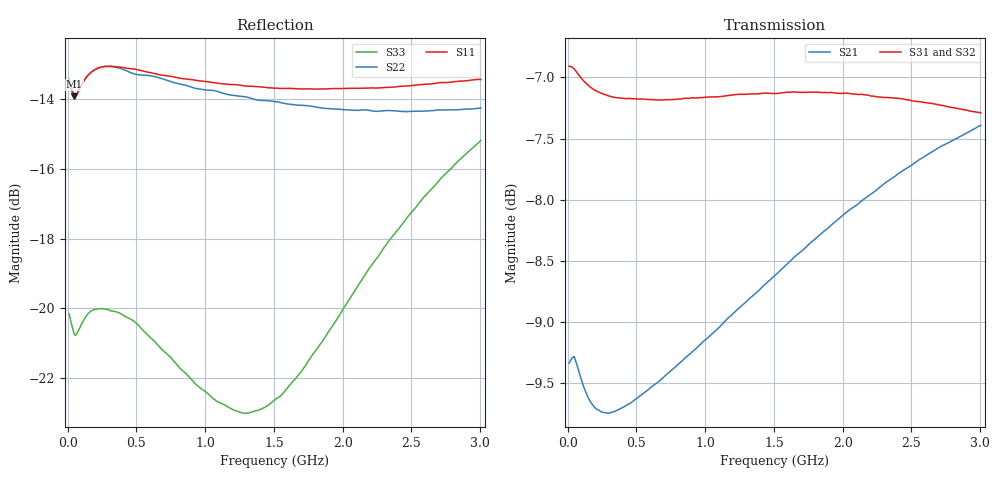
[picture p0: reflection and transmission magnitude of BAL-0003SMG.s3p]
! MARKI MICROWAVE INC.
! Email:  info@markimicrowave.com  Phone:  408-778-4200
! Model Number:  BAL-0003SMG  Date:  12/12
! Filename:		BAL-0003SMG.S3P  Version: 1.0
! Description:  3-port S-parameter data for Balun BAL-0003SMG
! Frequency Range: 	10 MHz to 3 GHz
! Port Configuration:	PORT 1: OUTPUT (0 DEGREE), PORT 2: OUTPUT (180 DEGREE), PORT 3:COMMON
! S3P File: Measurements: Mag<S11> Ang<S11> Mag<S12> Ang<S12> Mag<S13> Ang<S13>! row 1
!  Mag<S21> Ang<S21> Mag<S22> Ang<S22> Mag<S23> Ang<S23>! row 2
!  Mag<S31> Ang<S31> Mag<S32> Ang<S32> Mag<S33> Ang<S33>! row 3
# Hz S  dB  R 50
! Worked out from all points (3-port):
!   401 points, 10 MHz to 3.005 GHz, reference 50 ohm
!   strongest paths, dB at 10 MHz, 758.8 MHz, 1.508 GHz, 2.256 GHz, 3.005 GHz:
!     S31: -6.9, -7.2, -7.1, -7.2, -7.3
!     S32: -7.0, -7.2, -7.2, -7.2, -7.2
!     S21: -9.3, -9.4, -8.6, -7.9, -7.4
!   lowest |S11| = -13.9 dB at 47.44 MHz (marker M1), VSWR 1.50, Z = 33.3 + j1.51 ohm
!   |S11| at or under -10 dB: start of sweep to end of sweep
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1e7  -13.56 166.4  -9.33 5.0  -6.90 -0.7
     -9.34 4.4  -13.43 165.5  -6.95 179.7
     -6.91 0.2  -6.98 -179.0  -20.15 165.0
4.74375e7  -13.92 173.8  -9.30 -2.5  -6.92 -4.2
           -9.28 -2.5  -13.90 173.2  -6.93 175.9
           -6.93 -4.4  -6.95 175.7  -20.75 173.4
4.5925e8  -13.12 143.6  -9.67 -31.2  -7.16 -41.5
          -9.66 -31.1  -13.24 142.1  -7.20 137.6
          -7.17 -41.4  -7.21 137.7  -20.32 150.4
8.1865e8  -13.40 115.4  -9.34 -55.7  -7.17 -73.3
          -9.33 -55.6  -13.57 112.7  -7.21 105.3
          -7.18 -73.1  -7.23 105.5  -21.73 131.6
1.155588e9  -13.57 90.2  -8.99 -79.8  -7.14 -103.3
            -8.98 -79.7  -13.85 86.8  -7.20 74.9
            -7.15 -103.1  -7.22 75.0  -22.81 121.7
1.5075e9  -13.68 64.5  -8.63 -105.6  -7.12 -135.0
          -8.62 -105.6  -14.07 60.4  -7.19 43.0
          -7.13 -134.8  -7.20 43.1  -22.63 117.3
1.851925e9  -13.70 39.8  -8.27 -131.7  -7.12 -166.0
            -8.27 -131.6  -14.25 35.4  -7.17 11.7
            -7.12 -165.9  -7.18 11.8  -20.95 107.6
2.188862e9  -13.68 16.4  -7.97 -157.6  -7.15 163.5
            -7.97 -157.5  -14.32 11.6  -7.17 -18.9
            -7.15 163.7  -7.18 -18.8  -18.88 90.3
2.623138e9  -13.57 -13.7  -7.64 168.4  -7.20 124.2
            -7.63 168.6  -14.33 -18.2  -7.17 -58.3
            -7.21 124.4  -7.19 -58.2  -16.67 60.7
3.005e9  -13.43 -39.5  -7.40 138.2  -7.28 89.8
         -7.39 138.3  -14.25 -43.3  -7.20 -92.8
         -7.29 89.9  -7.22 -92.7  -15.18 30.7
